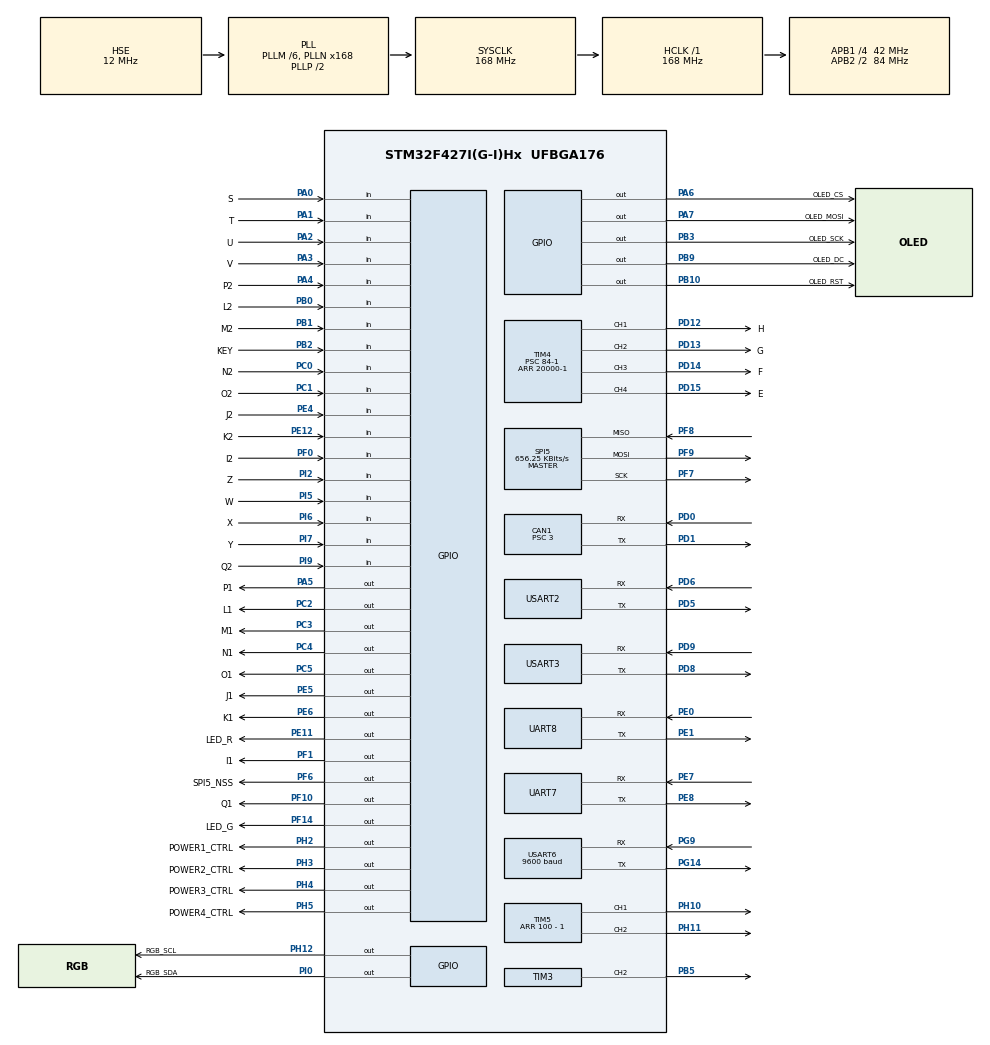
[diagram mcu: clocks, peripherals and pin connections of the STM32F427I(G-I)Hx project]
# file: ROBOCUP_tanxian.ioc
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CAN1.BS1=CAN_BS1_9TQ
CAN1.BS2=CAN_BS2_4TQ
CAN1.CalculateBaudRate=1000000
CAN1.CalculateTimeBit=1000
CAN1.CalculateTimeQuantum=71.42857142857143
CAN1.Prescaler=3
Dma.Request0=TIM5_CH1
Dma.Request1=TIM5_CH2
Dma.TIM5_CH1.0.Direction=DMA_MEMORY_TO_PERIPH
Dma.TIM5_CH1.0.FIFOMode=DMA_FIFOMODE_DISABLE
Dma.TIM5_CH1.0.Instance=DMA1_Stream2
Dma.TIM5_CH1.0.MemDataAlignment=DMA_MDATAALIGN_WORD
Dma.TIM5_CH1.0.MemInc=DMA_MINC_ENABLE
Dma.TIM5_CH1.0.Mode=DMA_NORMAL
Dma.TIM5_CH1.0.PeriphDataAlignment=DMA_PDATAALIGN_WORD
Dma.TIM5_CH1.0.PeriphInc=DMA_PINC_DISABLE
Dma.TIM5_CH1.0.Priority=DMA_PRIORITY_MEDIUM
Dma.TIM5_CH2.1.Direction=DMA_MEMORY_TO_PERIPH
Dma.TIM5_CH2.1.FIFOMode=DMA_FIFOMODE_DISABLE
Dma.TIM5_CH2.1.Instance=DMA1_Stream4
Dma.TIM5_CH2.1.MemDataAlignment=DMA_MDATAALIGN_WORD
Dma.TIM5_CH2.1.MemInc=DMA_MINC_ENABLE
Dma.TIM5_CH2.1.Mode=DMA_NORMAL
Dma.TIM5_CH2.1.PeriphDataAlignment=DMA_PDATAALIGN_WORD
Dma.TIM5_CH2.1.PeriphInc=DMA_PINC_DISABLE
Dma.TIM5_CH2.1.Priority=DMA_PRIORITY_MEDIUM
Mcu.Family=STM32F4
Mcu.Name=STM32F427I(G-I)Hx
Mcu.Package=UFBGA176
NVIC.CAN1_RX0_IRQn=true\:0\:0\:true\:false\:true\:true\:true\:true
NVIC.CAN1_TX_IRQn=true\:0\:0\:true\:false\:true\:true\:true\:true
NVIC.DMA1_Stream2_IRQn=true\:0\:0\:false\:false\:true\:false\:true\:true
NVIC.DMA1_Stream4_IRQn=true\:0\:0\:false\:false\:true\:false\:true\:true
NVIC.PriorityGroup=NVIC_PRIORITYGROUP_4
NVIC.TIM6_DAC_IRQn=true\:2\:0\:true\:false\:true\:true\:true\:true
NVIC.TIM7_IRQn=true\:10\:0\:true\:false\:true\:true\:true\:true
NVIC.UART7_IRQn=true\:3\:0\:true\:false\:true\:true\:true\:true
NVIC.UART8_IRQn=true\:6\:0\:true\:false\:true\:true\:true\:true
NVIC.USART2_IRQn=true\:6\:0\:true\:false\:true\:true\:true\:true
NVIC.USART3_IRQn=true\:6\:0\:true\:false\:true\:true\:true\:true
NVIC.USART6_IRQn=true\:1\:0\:true\:false\:true\:true\:true\:true
PA0/WKUP.GPIO_Label=S
PA0/WKUP.Signal=GPIO_Input
PA1.GPIO_Label=T
PA1.Signal=GPIO_Input
PA13.Mode=Serial_Wire
PA13.Signal=SYS_JTMS-SWDIO
PA14.Mode=Serial_Wire
PA14.Signal=SYS_JTCK-SWCLK
PA2.GPIO_Label=U
PA2.Signal=GPIO_Input
PA3.GPIO_Label=V
PA3.GPIO_PuPd=GPIO_PULLUP
PA3.Signal=GPIO_Input
PA4.GPIO_Label=P2
PA4.Signal=GPIO_Input
PA5.GPIO_Label=P1
PA5.Signal=GPIO_Output
PA6.GPIO_Label=OLED_CS
PA6.Signal=GPIO_Output
PA7.GPIO_Label=OLED_MOSI
PA7.GPIO_Speed=GPIO_SPEED_FREQ_VERY_HIGH
PA7.Signal=GPIO_Output
PB0.GPIO_Label=L2
PB0.Signal=GPIO_Input
PB1.GPIO_Label=M2
PB1.Signal=GPIO_Input
PB10.GPIO_Label=OLED_RST
PB10.Signal=GPIO_Output
PB2/BOOT1.GPIO_Label=KEY
PB2/BOOT1.GPIO_PuPd=GPIO_PULLDOWN
PB2/BOOT1.Signal=GPIO_Input
PB3.GPIO_Label=OLED_SCK
PB3.GPIO_Speed=GPIO_SPEED_FREQ_VERY_HIGH
PB3.Signal=GPIO_Output
PB5.Signal=S_TIM3_CH2
PB9.GPIO_Label=OLED_DC
PB9.PinState=GPIO_PIN_RESET
PB9.Signal=GPIO_Output
PC0.GPIO_Label=N2
PC0.Signal=GPIO_Input
PC1.GPIO_Label=O2
PC1.Signal=GPIO_Input
PC14/OSC32_IN.Mode=LSE-External-Oscillator
PC14/OSC32_IN.Signal=RCC_OSC32_IN
PC15/OSC32_OUT.Mode=LSE-External-Oscillator
PC15/OSC32_OUT.Signal=RCC_OSC32_OUT
PC2.GPIO_Label=L1
PC2.Signal=GPIO_Output
PC3.GPIO_Label=M1
PC3.Signal=GPIO_Output
PC4.GPIO_Label=N1
PC4.Signal=GPIO_Output
PC5.GPIO_Label=O1
PC5.Signal=GPIO_Output
PD0.Mode=CAN_Activate
PD0.Signal=CAN1_RX
PD1.Mode=CAN_Activate
PD1.Signal=CAN1_TX
PD12.GPIO_Label=H
PD12.Signal=S_TIM4_CH1
PD13.GPIO_Label=G
PD13.Signal=S_TIM4_CH2
PD14.GPIO_Label=F
PD14.Signal=S_TIM4_CH3
PD15.GPIO_Label=E
PD15.Signal=S_TIM4_CH4
PD5.Mode=Asynchronous
PD5.Signal=USART2_TX
PD6.Mode=Asynchronous
PD6.Signal=USART2_RX
PD8.Mode=Asynchronous
PD8.Signal=USART3_TX
PD9.Mode=Asynchronous
PD9.Signal=USART3_RX
PE0.Mode=Asynchronous
PE0.Signal=UART8_RX
PE1.Mode=Asynchronous
PE1.Signal=UART8_TX
PE11.GPIO_Label=LED_R
PE11.PinState=GPIO_PIN_SET
PE11.Signal=GPIO_Output
PE12.GPIO_Label=K2
PE12.Signal=GPIO_Input
PE4.GPIO_Label=J2
PE4.Signal=GPIO_Input
PE5.GPIO_Label=J1
PE5.Signal=GPIO_Output
PE6.GPIO_Label=K1
PE6.Signal=GPIO_Output
PE7.Mode=Asynchronous
PE7.Signal=UART7_RX
PE8.Mode=Asynchronous
PE8.Signal=UART7_TX
PF0.GPIO_Label=I2
PF0.Signal=GPIO_Input
PF1.GPIO_Label=I1
PF1.Signal=GPIO_Output
PF10.GPIO_Label=Q1
PF10.Signal=GPIO_Output
PF14.GPIO_Label=LED_G
PF14.PinState=GPIO_PIN_SET
PF14.Signal=GPIO_Output
PF6.GPIO_Label=SPI5_NSS
PF6.GPIO_Speed=GPIO_SPEED_FREQ_HIGH
PF6.Signal=GPIO_Output
PF7.Mode=Full_Duplex_Master
PF7.Signal=SPI5_SCK
PF8.Mode=Full_Duplex_Master
PF8.Signal=SPI5_MISO
PF9.Mode=Full_Duplex_Master
PF9.Signal=SPI5_MOSI
PG14.Mode=Asynchronous
PG14.Signal=USART6_TX
PG9.Mode=Asynchronous
PG9.Signal=USART6_RX
PH0/OSC_IN.Mode=HSE-External-Oscillator
PH0/OSC_IN.Signal=RCC_OSC_IN
PH1/OSC_OUT.Mode=HSE-External-Oscillator
PH1/OSC_OUT.Signal=RCC_OSC_OUT
PH10.Signal=S_TIM5_CH1
PH11.Signal=S_TIM5_CH2
PH12.GPIO_Label=RGB_SCL
PH12.GPIO_ModeDefaultOutputPP=GPIO_MODE_OUTPUT_OD
PH12.GPIO_PuPd=GPIO_PULLUP
PH12.GPIO_Speed=GPIO_SPEED_FREQ_LOW
PH12.PinState=GPIO_PIN_RESET
PH12.Signal=GPIO_Output
PH2.GPIO_Label=POWER1_CTRL
PH2.PinState=GPIO_PIN_RESET
PH2.Signal=GPIO_Output
PH3.GPIO_Label=POWER2_CTRL
PH3.Signal=GPIO_Output
PH4.GPIO_Label=POWER3_CTRL
PH4.Signal=GPIO_Output
PH5.GPIO_Label=POWER4_CTRL
PH5.Signal=GPIO_Output
PI0.GPIO_Label=RGB_SDA
PI0.GPIO_ModeDefaultOutputPP=GPIO_MODE_OUTPUT_OD
PI0.GPIO_PuPd=GPIO_PULLUP
PI0.GPIO_Speed=GPIO_SPEED_FREQ_LOW
PI0.PinState=GPIO_PIN_RESET
PI0.Signal=GPIO_Output
PI2.GPIO_Label=Z
PI2.Signal=GPIO_Input
PI5.GPIO_Label=W
PI5.Signal=GPIO_Input
PI6.GPIO_Label=X
PI6.Signal=GPIO_Input
PI7.GPIO_Label=Y
PI7.Signal=GPIO_Input
PI9.GPIO_Label=Q2
PI9.Signal=GPIO_Input
ProjectManager.HeapSize=0x200
ProjectManager.StackSize=0x400
ProjectManager.TargetToolchain=MDK-ARM V5.32
RCC.48MHZClocksFreq_Value=48000000
RCC.AHBFreq_Value=168000000
RCC.APB1CLKDivider=RCC_HCLK_DIV4
RCC.APB1Freq_Value=42000000
RCC.APB1TimFreq_Value=84000000
RCC.APB2CLKDivider=RCC_HCLK_DIV2
RCC.APB2Freq_Value=84000000
RCC.APB2TimFreq_Value=168000000
RCC.CortexFreq_Value=168000000
RCC.HCLKFreq_Value=168000000
RCC.HSE_VALUE=12000000
RCC.HSI_VALUE=16000000
RCC.PLLM=6
RCC.PLLN=168
RCC.PLLQ=7
RCC.PLLSourceVirtual=RCC_PLLSOURCE_HSE
RCC.SYSCLKFreq_VALUE=168000000
RCC.SYSCLKSource=RCC_SYSCLKSOURCE_PLLCLK
RCC.VCOOutputFreq_Value=336000000
SH.S_TIM3_CH2.0=TIM3_CH2,PWM Generation2 CH2
SH.S_TIM4_CH1.0=TIM4_CH1,PWM Generation1 CH1
SH.S_TIM4_CH2.0=TIM4_CH2,PWM Generation2 CH2
SH.S_TIM4_CH3.0=TIM4_CH3,PWM Generation3 CH3
SH.S_TIM4_CH4.0=TIM4_CH4,PWM Generation4 CH4
SH.S_TIM5_CH1.0=TIM5_CH1,PWM Generation1 CH1
SH.S_TIM5_CH2.0=TIM5_CH2,PWM Generation2 CH2
SPI5.BaudRatePrescaler=SPI_BAUDRATEPRESCALER_128
SPI5.CalculateBaudRate=656.25 KBits/s
SPI5.Direction=SPI_DIRECTION_2LINES
SPI5.Mode=SPI_MODE_MASTER
SPI5.VirtualType=VM_MASTER
TIM3.Channel-PWM\ Generation2\ CH2=TIM_CHANNEL_2
TIM3.Period=100-1
TIM3.Prescaler=840-1
TIM4.Channel-PWM\ Generation1\ CH1=TIM_CHANNEL_1
TIM4.Channel-PWM\ Generation2\ CH2=TIM_CHANNEL_2
TIM4.Channel-PWM\ Generation3\ CH3=TIM_CHANNEL_3
TIM4.Channel-PWM\ Generation4\ CH4=TIM_CHANNEL_4
TIM4.Period=20000-1
TIM4.Prescaler=84-1
TIM5.Channel-PWM\ Generation1\ CH1=TIM_CHANNEL_1
TIM5.Channel-PWM\ Generation2\ CH2=TIM_CHANNEL_2
TIM5.Period=100 - 1
TIM6.AutoReloadPreload=TIM_AUTORELOAD_PRELOAD_ENABLE
TIM6.Period=1000-1
TIM6.Prescaler=84-1
TIM7.AutoReloadPreload=TIM_AUTORELOAD_PRELOAD_ENABLE
TIM7.Period=10000-1
TIM7.Prescaler=840-1
UART7.VirtualMode=Asynchronous
UART8.VirtualMode=Asynchronous
USART2.VirtualMode=VM_ASYNC
USART3.VirtualMode=VM_ASYNC
USART6.BaudRate=9600
USART6.VirtualMode=VM_ASYNC
VP_TIM3_VS_ClockSourceINT.Mode=Internal
VP_TIM4_VS_ClockSourceINT.Mode=Internal
VP_TIM5_VS_ClockSourceINT.Mode=Internal
VP_TIM6_VS_ClockSourceINT.Mode=Enable_Timer
VP_TIM7_VS_ClockSourceINT.Mode=Enable_Timer
board=custom

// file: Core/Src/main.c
/* USER CODE BEGIN Header */
/**
 ******************************************************************************
 * @file           : main.c
 * @brief          : Main program body
 ******************************************************************************
 * @attention
 *
 * Copyright (c) 2024 STMicroelectronics.
 * All rights reserved.
 *
 * This software is licensed under terms that can be found in the LICENSE file
 * in the root directory of this software component.
 * If no LICENSE file comes with this software, it is provided AS-IS.
 *
 ******************************************************************************
 */
/* USER CODE END Header */
#include "main.h"
#include "can.h"
#include "dma.h"
#include "spi.h"
#include "tim.h"
#include "usart.h"
#include "gpio.h"

void SystemClock_Config(void);

/* USER CODE BEGIN 0 */

uint8_t backhome = 1;
uint16_t score = 0;
uint8_t uart_rx_buffer[BUFFER_SIZE];
uint8_t uart3_data;
uint8_t uart3_index = 0;
uint8_t motor_flag;
uint8_t trage_angle;
flag RC={0,0,0,0,0,0};
uint8_t k230_data[4];
static void SensorDataUpdata(uint32_t uiReg, uint32_t uiRegNum); // 陀螺仪数据更新
extern uint8_t ucRegIndex;                                       // 注册指数
uint8_t uart7_data;
uint8_t uart8_data;
uint8_t fyaw;
uint16_t max_speed = 2000;
float nowangle;
uint8_t sum;
uint8_t RGB[3] = {0};
uint8_t HSL[3] = {0};
static volatile char s_cDataUpdate1 = 0, s_cDataUpdate2 = 0, s_cDataUpdate3 = 0, s_cDataUpdate4 = 0, s_cCmd = 0xff;
void process_command(uint8_t *cmd, uint8_t len)
{
  char buffer[129];
  int mode = 0;
  int position = 0;
  int speed = 0;
  int angle = 0;

  memcpy(buffer, cmd, len);
  buffer[len] = '\0';

  if (sscanf(buffer, "mode%d,position%d,speed%d,angle%d", &mode, &position, &speed, &angle) == 4)
  {
    trage_angle = angle;
  }
}
/* USER CODE END 0 */

int main(void)
{

  /* MCU Configuration--------------------------------------------------------*/

  /* Reset of all peripherals, Initializes the Flash interface and the Systick. */
  HAL_Init();

  /* Configure the system clock */
  SystemClock_Config();

  /* Initialize all configured peripherals */
  MX_GPIO_Init();
  MX_DMA_Init();
  MX_CAN1_Init();
  MX_SPI5_Init();
  MX_UART7_Init();
  MX_UART8_Init();
  MX_USART6_UART_Init();
  MX_TIM6_Init();
  MX_USART2_UART_Init();
  MX_TIM4_Init();
  MX_TIM3_Init();
  MX_TIM5_Init();
  MX_USART3_UART_Init();
  MX_TIM7_Init();
  /* USER CODE BEGIN 2 */
  HAL_UART_Receive_IT(&huart7, &uart7_data, 1); // 开启串口7接收中断
  HAL_UART_Receive_IT(&huart6, &uart6_data, 1); // 开启串口6接收中断
  HAL_UART_Receive_IT(&huart3, &uart3_data, 1); // 开启串口3接收中断
  // HAL_UART_Receive_IT(&huart8, &uart8_data, 1); // 开启串口8接收中断
  WitRegisterCallBack(SensorDataUpdata);        // 注册获取传感器数据回调函数
  power_on();                                   // 打开电机电源
  can_filter_init();                            // CAN滤波器初始化
  oled_Init();                                  // OLED初始化
  for (int i = 0; i < 4; i++)                   // PID初始化
  {
    pid_init(&motor_pid_speed[i]);
    pid_init(&motor_pid[i]);
    motor_pid_speed[i].f_param_init(&motor_pid_speed[i], PID_Speed, 16384, 5000, 0, 0, 8000, 0, 1.5, 0.015, 0.5); // 速度PID  0.6, 0.002, 0.8
    motor_pid[i].f_param_init(&motor_pid[i], PID_Speed, 16384, 5000, 10, 0, 8000, 0, 0.8, 0.02, 0);
  }
  HAL_TIM_PWM_Start(&htim4, TIM_CHANNEL_1); // 打开PWM
  HAL_TIM_PWM_Start(&htim4, TIM_CHANNEL_2);
  HAL_TIM_PWM_Start(&htim4, TIM_CHANNEL_3);
  HAL_TIM_PWM_Start(&htim4, TIM_CHANNEL_4);
  HAL_TIM_Base_Start_IT(&htim6); // 开启定时器6
  // HAL_TIM_Base_Start_IT(&htim7); // 开启定时器7（100ms），用于OLED显示
  // Servo4_SetAngle(0);
  HAL_Delay(2000);
  // Servo4_SetAngle(90);
  HAL_Delay(2000);
  HAL_GPIO_WritePin(LED_R_GPIO_Port, LED_R_Pin, GPIO_PIN_SET);
  HAL_GPIO_WritePin(LED_G_GPIO_Port, LED_G_Pin, GPIO_PIN_SET);
  while (Ping())
  {
    printf("Ping Faild Try Again!\r\n");
    HAL_Delay(100);
  }
  printf("Ping Succseful!\r\n");
  /* USER CODE END 2 */

  /* Infinite loop */
  /* USER CODE BEGIN WHILE */
  while (1)
  {
    while(GQ == 1)
    {
      if(GQ == 0)
        break;
    }
    while (GQ == 0) //放禁行板
    {
      if (EQ == 0)
      {
        HAL_Delay(200);
        backhome = -backhome;
      }
    }
    PLAY_STATE_READY();
    all_set();
    // HAL_Delay(1000);
    // Servo1_SetAngle(20);    //机器人站起

    RGB_RED(9, 0);
    RGB_RED(9, 1);

    // OLED_ShowString(0, 0, (uint8_t *)"score:", 16, 1);       // 显示 "score:"，占 6 字符 = 48 像素
    // OLED_ShowNum(48, 0, (int16_t)score, 4, 16, 1);           // 数字从 x=48 开始，4 位补零

    one_to_two2();
    two_to_three2();
    three_to_four2();
    four_to_five2();    //15-35'
    five_to_seven2();
    seven_to_eight2();  //50'
    eight_to_home();    //45'

    //go_scenic_spot(100);

    stop_time(1000);

    HAL_Delay(5000);

    // tracking_expedite(9000, time_break, 2000);
    // tracking(7000, zero, 200);
    // go_platform(5);
    // tracking(4000, time_break, 500);   // 到路障前
    // tracking(3300, time_break, 2500);  // 过路障
    // tracking(6000, forward_left, 100); // 到岔路口
    // go_forward(5000, 190);
    // turn_angle(turn_right, 16, 5000); // 岔路口右转
    // tracking(5000, zero, 500);        // 到平台下

    // while (1)
    // {
    //   track_PID(8000);
    // }

    // PLAY_ARKNIGHTS();
      // while (1)
      // {
      //   stop();

      //   /* OLED刷新（TIM7每100ms置位） */
      //   if (oled_update_flag)
      //   {
      //     oled_update_flag = 0;
      //     get_imu_data();
      //     OLED_ShowNum(0, 0, (int32_t)imu.yaw, 3, 16, 1);
      //     uint8_t hsl[3];
      //     if (IIC_Get_HSL(hsl, 3))
      //     {
      //       OLED_ShowNum(0, 16, hsl[0], 3, 16, 1);
      //       OLED_ShowNum(48, 16, hsl[1], 3, 16, 1);
      //       OLED_ShowNum(96, 16, hsl[2], 3, 16, 1);
      //     }
      //    OLED_Refresh();
      //  }
      // }

    // go_forward(5000, 500);            // 到平台中间
    // turn_angle(turn_left, 165, 5000); // 平台左转归正
    // stop_time(3000);

    /* USER CODE END WHILE */

  }
}

void SystemClock_Config(void)
{
  RCC_OscInitTypeDef RCC_OscInitStruct = {0};
  RCC_ClkInitTypeDef RCC_ClkInitStruct = {0};

  /** Configure the main internal regulator output voltage
  */
  __HAL_RCC_PWR_CLK_ENABLE();
  __HAL_PWR_VOLTAGESCALING_CONFIG(PWR_REGULATOR_VOLTAGE_SCALE1);

  /** Initializes the RCC Oscillators according to the specified parameters
  * in the RCC_OscInitTypeDef structure.
  */
  RCC_OscInitStruct.OscillatorType = RCC_OSCILLATORTYPE_HSE;
  RCC_OscInitStruct.HSEState = RCC_HSE_ON;
  RCC_OscInitStruct.PLL.PLLState = RCC_PLL_ON;
  RCC_OscInitStruct.PLL.PLLSource = RCC_PLLSOURCE_HSE;
  RCC_OscInitStruct.PLL.PLLM = 6;
  RCC_OscInitStruct.PLL.PLLN = 168;
  RCC_OscInitStruct.PLL.PLLP = RCC_PLLP_DIV2;
  RCC_OscInitStruct.PLL.PLLQ = 7;
  if (HAL_RCC_OscConfig(&RCC_OscInitStruct) != HAL_OK)
  {
    Error_Handler();
  }

  /** Initializes the CPU, AHB and APB buses clocks
  */
  RCC_ClkInitStruct.ClockType = RCC_CLOCKTYPE_HCLK|RCC_CLOCKTYPE_SYSCLK
                              |RCC_CLOCKTYPE_PCLK1|RCC_CLOCKTYPE_PCLK2;
  RCC_ClkInitStruct.SYSCLKSource = RCC_SYSCLKSOURCE_PLLCLK;
  RCC_ClkInitStruct.AHBCLKDivider = RCC_SYSCLK_DIV1;
  RCC_ClkInitStruct.APB1CLKDivider = RCC_HCLK_DIV4;
  RCC_ClkInitStruct.APB2CLKDivider = RCC_HCLK_DIV2;

  if (HAL_RCC_ClockConfig(&RCC_ClkInitStruct, FLASH_LATENCY_5) != HAL_OK)
  {
    Error_Handler();
  }
}

/* USER CODE BEGIN 4 */
static void SensorDataUpdata(uint32_t uiReg, uint32_t uiRegNum)
{
  int i;
  for (i = 0; i < uiRegNum; i++)
  {
    switch (uiReg)
    {
      //            case AX:
      //            case AY:
    case AZ:
      s_cDataUpdate1 |= ACC_UPDATE;
      break;
      //            case GX:
      //            case GY:
    case GZ:
      s_cDataUpdate2 |= GYRO_UPDATE;
      break;
      //            case HX:
      //            case HY:
    case HZ:
      s_cDataUpdate4 |= MAG_UPDATE;
      break;
      //            case Roll:
      //            case Pitch:
    case Yaw:
      s_cDataUpdate3 |= ANGLE_UPDATE;
      break;
      //            default:
      //				s_cDataUpdate1 |= READ_UPDATE;
      //			break;
    }
    uiReg++;
  }
}

// static void SensorUartSend(uint8_t *p_data, uint32_t uiSize)
// {
//   HAL_UART_Transmit(&huart3, (uint8_t *)&p_data, uiSize, 100);
// }

/* USER CODE END 4 */

void Error_Handler(void)
{
  while (1)
  {
  }
}
#ifdef USE_FULL_ASSERT
/**
  * @brief  Reports the name of the source file and the source line number
  *         where the assert_param error has occurred.
  * @param  file: pointer to the source file name
  * @param  line: assert_param error line source number
  * @retval None
  */
void assert_failed(uint8_t *file, uint32_t line)
{
  /* USER CODE BEGIN 6 */
  /* User can add his own implementation to report the file name and line
     number, ex: printf("Wrong parameters value: file %s on line %d\r\n", file,
     line) */
  /* USER CODE END 6 */
}
#endif /* USE_FULL_ASSERT */
